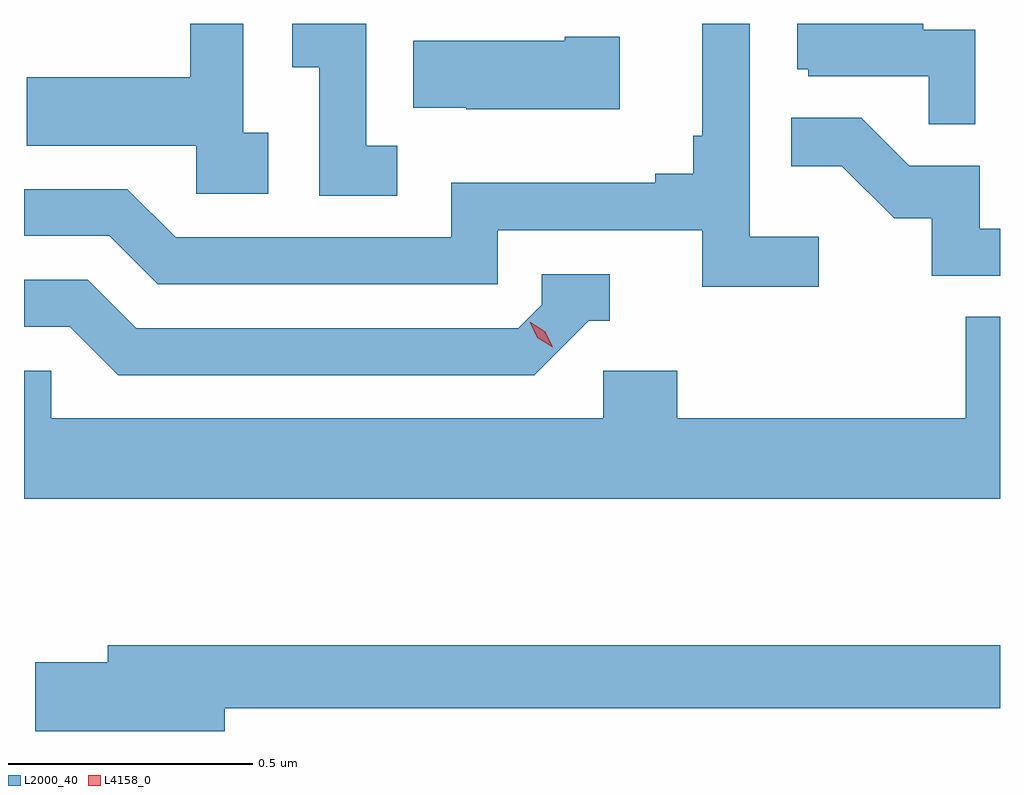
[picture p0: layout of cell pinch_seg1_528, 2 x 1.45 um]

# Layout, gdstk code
import gdstk
lib = gdstk.Library(unit=1e-6, precision=1e-09)
def P(c, l, *ps):  # polygons
    for p in ps: c.add(gdstk.Polygon(p, *l))
L2000_40 = (2000, 40)
L4158_0 = (4158, 0)

pinch_seg1_528 = lib.new_cell('pinch_seg1_528')
P(pinch_seg1_528, L2000_40, [(1019.644,536.284),(1019.502,536.284),(1019.502,536.721),(1019.405,536.721),(1019.405,536.491),(1019.386,536.491),(1019.386,536.414),(1019.309,536.414),(1019.309,536.395),(1018.89,536.395),(1018.89,536.283),(1018.326,536.283),(1018.227,536.382),(1018.015,536.382),(1018.015,536.286),(1018.19,536.286),(1018.289,536.187),(1018.986,536.187),(1018.986,536.298),(1019.405,536.298),(1019.405,536.182),(1019.644,536.182)],
  [(1018.516,536.498),(1018.464,536.498),(1018.464,536.721),(1018.356,536.721),(1018.356,536.611),(1018.021,536.611),(1018.021,536.471),(1018.368,536.471),(1018.368,536.373),(1018.516,536.373)],
  [(1018.78,536.471),(1018.716,536.471),(1018.716,536.721),(1018.565,536.721),(1018.565,536.632),(1018.62,536.632),(1018.62,536.368),(1018.78,536.368)],
  [(1019.964,536.709),(1019.858,536.709),(1019.858,536.721),(1019.6,536.721),(1019.6,536.628),(1019.622,536.628),(1019.622,536.613),(1019.869,536.613),(1019.869,536.515),(1019.964,536.515)],
  [(1019.236,536.694),(1019.123,536.694),(1019.123,536.686),(1018.813,536.686),(1018.813,536.549),(1018.921,536.549),(1018.921,536.546),(1019.236,536.546)],
  [(1020.015,536.301),(1019.973,536.301),(1019.973,536.43),(1019.829,536.43),(1019.731,536.528),(1019.587,536.528),(1019.587,536.429),(1019.691,536.429),(1019.798,536.322),(1019.875,536.322),(1019.875,536.205),(1020.015,536.205)],
  [(1019.172,536.112),(1019.215,536.112),(1019.215,536.208),(1019.076,536.208),(1019.076,536.145),(1019.028,536.097),(1018.245,536.097),(1018.146,536.196),(1018.015,536.196),(1018.015,536.1),(1018.109,536.1),(1018.208,536.001),(1019.061,536.001)],
  [(1020.015,536.12),(1019.945,536.12),(1019.945,535.912),(1019.354,535.912),(1019.354,536.01),(1019.202,536.01),(1019.202,535.912),(1018.071,535.912),(1018.071,536.01),(1018.015,536.01),(1018.015,535.748),(1020.015,535.748)],
  [(1018.426,535.318),(1020.015,535.318),(1020.015,535.447),(1018.187,535.447),(1018.187,535.413),(1018.038,535.413),(1018.038,535.271),(1018.426,535.271)])
P(pinch_seg1_528, L4158_0, [(1019.098,536.058),(1019.067,536.077),(1019.051,536.11),(1019.051,536.11),(1019.051,536.11),(1019.082,536.091),(1019.099,536.059),(1019.099,536.058)])

lib.write_gds('pinch_seg1_528.gds')
